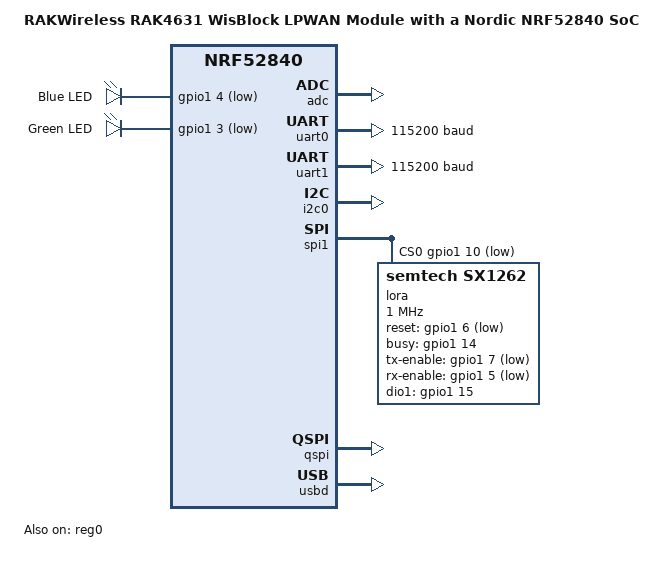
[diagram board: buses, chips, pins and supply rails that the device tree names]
/*
 * Copyright (c) 2021 Guillaume Paquet <guillaume.paquet@smile.fr>
 *
 * SPDX-License-Identifier: Apache-2.0
 */

/dts-v1/;
#include <nordic/nrf52840_qiaa.dtsi>
#include <nordic/nrf52840_partition.dtsi>
#include <zephyr/dt-bindings/lora/sx126x.h>
#include "rak4631_nrf52840-pinctrl.dtsi"

/ {
	model = "RAKWireless RAK4631 WisBlock LPWAN Module with a Nordic NRF52840 SoC";
	compatible = "nordic,rak4631_nrf52840";

	chosen {
		zephyr,console = &uart1;
		zephyr,shell-uart = &uart1;
		zephyr,uart-mcumgr = &uart1;
		zephyr,bt-mon-uart = &uart1;
		zephyr,bt-c2h-uart = &uart1;
	};

	leds {
		compatible = "gpio-leds";
		blue_led: led_2 {
			gpios = <&gpio1 4 GPIO_ACTIVE_LOW>;
			label = "Blue LED";
		};
		green_led: led_1 {
			gpios = <&gpio1 3 GPIO_ACTIVE_LOW>;
			label = "Green LED";
		};
	};

	/* Declaration of aliases */
	aliases {
		led0 = &blue_led;
		lora0 = &lora;
		watchdog0 = &wdt0;
	};
};

&reg0 {
	status = "okay";
};

&reg1 {
	regulator-initial-mode = <NRF5X_REG_MODE_DCDC>;
};

&adc {
	status = "okay";
};

&uicr {
	gpio-as-nreset;
	nfct-pins-as-gpios;
};

&gpiote {
	status = "okay";
};

&gpio0 {
	status = "okay";
};

&gpio1 {
	status = "okay";
};

&uart0 {
	compatible = "nordic,nrf-uart";
	status = "okay";
	current-speed = <115200>;
	pinctrl-0 = <&uart0_default>;
	pinctrl-1 = <&uart0_sleep>;
	pinctrl-names = "default", "sleep";
};

&uart1 {
	compatible = "nordic,nrf-uarte";
	current-speed = <115200>;
	status = "okay";
	pinctrl-0 = <&uart1_default>;
	pinctrl-1 = <&uart1_sleep>;
	pinctrl-names = "default", "sleep";
};

&i2c0 {
	compatible = "nordic,nrf-twi";
	status = "okay";
	pinctrl-0 = <&i2c0_default>;
	pinctrl-1 = <&i2c0_sleep>;
	pinctrl-names = "default", "sleep";
};

&i2c1 {
	compatible = "nordic,nrf-twi";
	/* Cannot be used together with spi1. */
	/* status = "okay"; */
	pinctrl-0 = <&i2c1_default>;
	pinctrl-1 = <&i2c1_sleep>;
	pinctrl-names = "default", "sleep";
};

&spi1 {
	compatible = "nordic,nrf-spi";
	status = "okay";
	cs-gpios = <&gpio1 10 GPIO_ACTIVE_LOW>;

	pinctrl-0 = <&spi1_default>;
	pinctrl-1 = <&spi1_sleep>;
	pinctrl-names = "default", "sleep";
	lora: lora@0 {
		compatible = "semtech,sx1262";
		reg = <0>;
		reset-gpios = <&gpio1 6 GPIO_ACTIVE_LOW>;
		busy-gpios = <&gpio1 14 GPIO_ACTIVE_HIGH>;
		tx-enable-gpios = <&gpio1 7 GPIO_ACTIVE_LOW>;
		rx-enable-gpios = <&gpio1 5 GPIO_ACTIVE_LOW>;
		dio1-gpios = <&gpio1 15 GPIO_ACTIVE_HIGH>;
		dio2-tx-enable;
		dio3-tcxo-voltage = <SX126X_DIO3_TCXO_3V3>;
		tcxo-power-startup-delay-ms = <5>;
		spi-max-frequency = <1000000>;
	};
};

&qspi {
	status = "okay";
	pinctrl-0 = <&qspi_default>;
	pinctrl-1 = <&qspi_sleep>;
	pinctrl-names = "default", "sleep";
};

zephyr_udc0: &usbd {
	compatible = "nordic,nrf-usbd";
	status = "okay";
};
